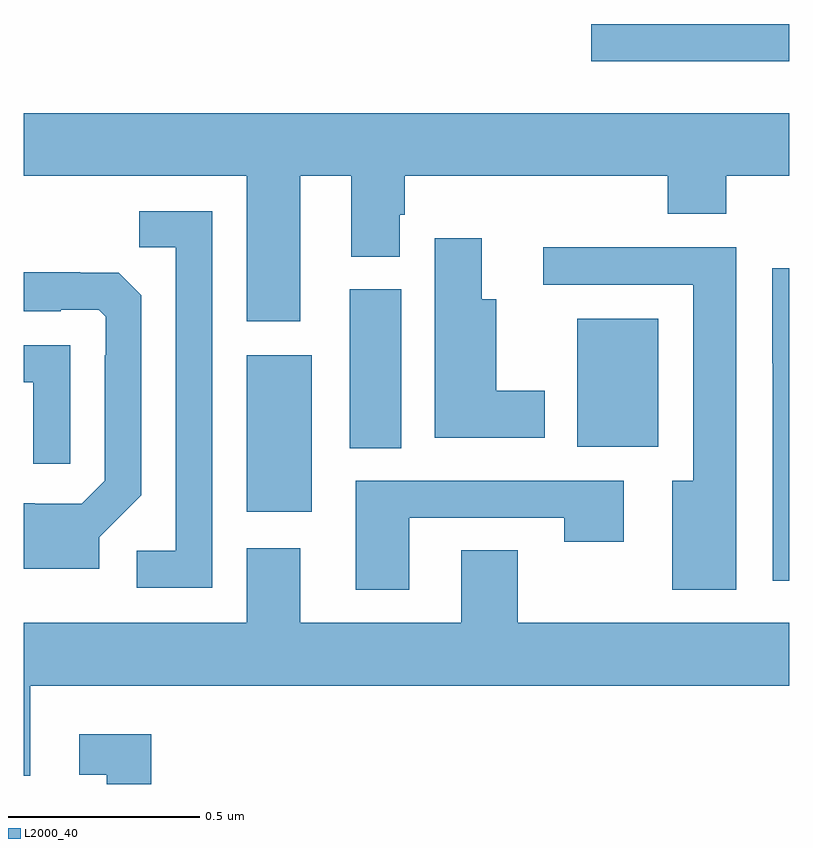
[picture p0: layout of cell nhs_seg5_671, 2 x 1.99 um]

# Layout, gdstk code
import gdstk
lib = gdstk.Library(unit=1e-6, precision=1e-09)
def R(c, l, rs):  # rectangles x0, y0, x1, y1
    for r in rs: c.add(gdstk.rectangle(r[:2], r[2:], *l))
def P(c, l, *ps):  # polygons
    for p in ps: c.add(gdstk.Polygon(p, *l))
L2000_40 = (2000, 40)

nhs_seg5_671 = lib.new_cell('nhs_seg5_671')
R(nhs_seg5_671, L2000_40, [(119.582,894.51,119.752,894.919), (119.852,894.676,119.986,895.092), (120.446,894.68,120.658,895.015), (120.483,895.688,121,895.785)])
P(nhs_seg5_671, L2000_40, [(119.722,895.388),(119.855,895.388),(119.855,895.177),(119.983,895.177),(119.983,895.287),(119.996,895.287),(119.996,895.388),(120.683,895.388),(120.683,895.289),(120.835,895.289),(120.835,895.388),(121,895.388),(121,895.552),(119,895.552),(119,895.388),(119.582,895.388),(119.582,895.008),(119.722,895.008)],
  [(119.493,895.296),(119.302,895.296),(119.302,895.201),(119.397,895.201),(119.397,894.408),(119.295,894.408),(119.295,894.312),(119.493,894.312)],
  [(120.361,894.826),(120.235,894.826),(120.235,895.066),(120.196,895.066),(120.196,895.225),(120.074,895.225),(120.074,894.704),(120.361,894.704)],
  [(120.862,895.202),(120.357,895.202),(120.357,895.104),(120.749,895.104),(120.749,894.592),(120.695,894.592),(120.695,894.306),(120.862,894.306)],
  [(121,895.147),(120.956,895.147),(120.956,894.898),(120.957,894.898),(120.957,894.33),(121,894.33)],
  [(119.197,894.444),(119.307,894.554),(119.307,895.076),(119.248,895.135),(119.147,895.135),(119.147,895.136),(119,895.136),(119,895.035),(119.096,895.035),(119.096,895.038),(119.196,895.038),(119.214,895.02),(119.214,894.92),(119.211,894.92),(119.211,894.591),(119.151,894.531),(119.028,894.531),(119.028,894.532),(119,894.532),(119,894.362),(119.197,894.362)],
  [(119.121,894.945),(119,894.945),(119,894.849),(119.025,894.849),(119.025,894.636),(119.121,894.636)],
  [(120.007,894.495),(120.412,894.495),(120.412,894.432),(120.568,894.432),(120.568,894.591),(119.867,894.591),(119.867,894.306),(120.007,894.306)],
  [(119.017,894.056),(121,894.056),(121,894.22),(120.291,894.22),(120.291,894.41),(120.143,894.41),(120.143,894.22),(119.722,894.22),(119.722,894.415),(119.582,894.415),(119.582,894.22),(119,894.22),(119,893.821),(119.017,893.821)],
  [(119.333,893.929),(119.145,893.929),(119.145,893.823),(119.217,893.823),(119.217,893.799),(119.333,893.799)])

lib.write_gds('nhs_seg5_671.gds')
